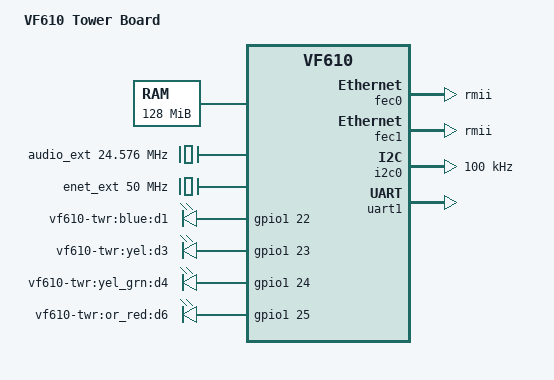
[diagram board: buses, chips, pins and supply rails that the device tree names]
/*
 * Copyright 2013 Freescale Semiconductor, Inc.
 *
 * This program is free software; you can redistribute it and/or modify
 * it under the terms of the GNU General Public License as published by
 * the Free Software Foundation; either version 2 of the License, or
 * (at your option) any later version.
 */

/dts-v1/;
#include "vf610.dtsi"

/ {
	model = "VF610 Tower Board";
	compatible = "fsl,vf610-twr", "fsl,vf610";

	chosen {
		bootargs = "console=ttyLP1,115200";
	};

	memory {
		reg = <0x80000000 0x8000000>;
	};

	clocks {
		audio_ext {
			compatible = "fixed-clock";
			clock-frequency = <24576000>;
		};

		enet_ext {
			compatible = "fixed-clock";
			clock-frequency = <50000000>;
		};
	};

	leds {
		compatible = "gpio-leds";

		led@1 {
			label = "vf610-twr:blue:d1";
			gpios = <&gpio1 22 GPIO_ACTIVE_HIGH>; /* gpio[22] PTB0 */
			linux,default-trigger = "heartbeat";
			default-state = "off";
		};

		led@3 {
			label = "vf610-twr:yel:d3";
			gpios = <&gpio1 23 GPIO_ACTIVE_HIGH>; /* gpio[23] PTB1 */
			linux,default-trigger = "none";
			default-state = "off";
		};

		led@4 {
			label = "vf610-twr:yel_grn:d4";
			gpios = <&gpio1 24 GPIO_ACTIVE_HIGH>; /* gpio[24] PTB2 */
			linux,default-trigger = "none";
			default-state = "off";
		};

		led@6 {
			label = "vf610-twr:or_red:d6";
			gpios = <&gpio1 25 GPIO_ACTIVE_HIGH>; /* gpio[25] PTB3 */
			linux,default-trigger = "none";
			default-state = "off";
		};
	};
};

&fec0 {
	phy-mode = "rmii";
	pinctrl-names = "default";
	pinctrl-0 = <&pinctrl_fec0_1>;
	status = "okay";
};

&fec1 {
	phy-mode = "rmii";
	pinctrl-names = "default";
	pinctrl-0 = <&pinctrl_fec1_1>;
	status = "okay";
};

&i2c0 {
	clock-frequency = <100000>;
	pinctrl-names = "default";
	pinctrl-0 = <&pinctrl_i2c0_1>;
	status = "okay";
};

&uart1 {
	pinctrl-names = "default";
	pinctrl-0 = <&pinctrl_uart1_1>;
	status = "okay";
};
